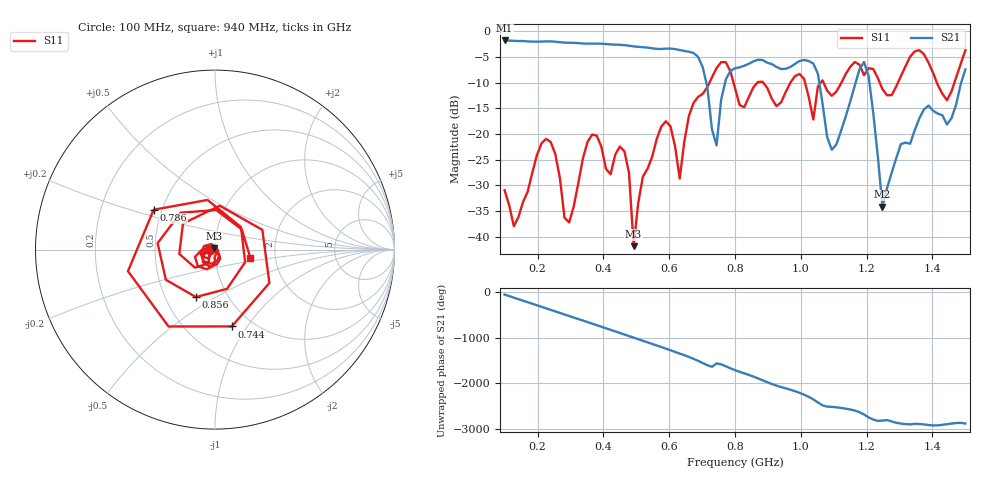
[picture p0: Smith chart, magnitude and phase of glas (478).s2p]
! NanoVNA-App
! Date: 2025-09-25 15:59:12
! Start: 100MHz Stop: 1,5GHz Points: 101
! S-Parameter data: F S11 S21 S12 S22
# Hz S RI R 50
!  Frequency  S11_Real  S11_Imag  S21_Real  S21_Imag  S12_Real  S12_Imag  S22_Real  S22_Imag
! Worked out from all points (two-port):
!   101 points, 100 MHz to 1.5 GHz, reference 50 ohm
!   highest |S21| = -1.80 dB at 100 MHz (marker M1); lowest = -34.1 dB at 1.248 GHz (marker M2)
!   |S21| within 3 dB of the highest: start of sweep to 684.5 MHz
!   lowest |S11| = -41.8 dB at 492 MHz (marker M3), VSWR 1.02, Z = 49.5 + j0.614 ohm
!   |S11| at or under -10 dB: start of sweep to 722.5 MHz; 795.4 MHz to 868.2 MHz (72.74 MHz wide, 8.74 % of centre); 885.8 MHz to 968.3 MHz (82.52 MHz wide, 8.9 % of centre) (the widest 3 of 7)
!   S12 and S22 are empty: the file has one direction only
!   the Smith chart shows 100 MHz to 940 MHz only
!   S11 on the Smith chart (normalised r, x): 100 MHz: 0.95, -0.01; 744 MHz: 0.80, -0.85; 786 MHz: 0.45, +0.24; 856 MHz: 0.71, -0.41; 940 MHz: 1.48, -0.15
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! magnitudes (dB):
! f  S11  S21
! 100 MHz  -30.9  -1.8
! 128 MHz  -37.9  -1.9
! 226 MHz  -20.9  -2.0
! 296 MHz  -37.2  -2.2
! 338 MHz  -24.7  -2.4
! 464 MHz  -23.3  -2.7
! 492 MHz  -41.8  -3.0
! 576 MHz  -18.5  -3.5
! 632 MHz  -28.7  -3.7
! 702 MHz  -12.2  -7.0
! 744 MHz  -7.2  -22.2
! 786 MHz  -7.8  -7.7
! 800 MHz  -11.1  -7.2
! 856 MHz  -10.9  -5.9
! 940 MHz  -13.8  -7.4
! 1.038 GHz  -17.2  -6.3
! 1.094 GHz  -12.6  -23.0
! 1.192 GHz  -8.6  -6.0
! 1.248 GHz  -11.3  -34.1
! 1.276 GHz  -12.4  -27.5
! 1.444 GHz  -13.4  -18.1
! 1.5 GHz  -3.7  -7.4
